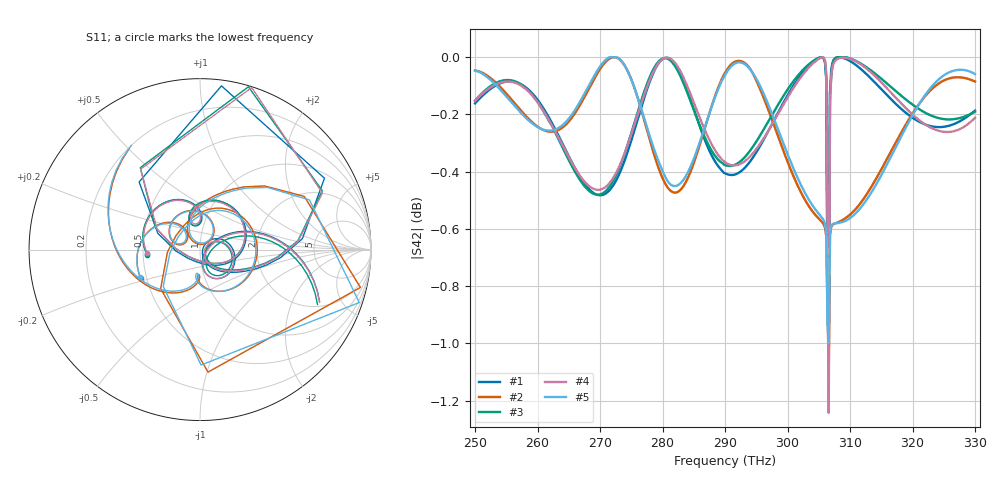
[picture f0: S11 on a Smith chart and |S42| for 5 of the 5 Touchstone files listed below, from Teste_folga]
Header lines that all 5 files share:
! TOUCHSTONE file generated by CST MICROWAVE STUDIO
! Project name: biblioteca3.cst
! Header version: 2018
! Port assignment regex: !\s*Touchstone port\s*([0-9]+)\s*=\s*(CST MWS port|CST DS port)\s*([0-9]+|Zmin|Zmax)\s*\(\"(.*)\"\)(\s*mode\s*([0-9]+))?.*
! Touchstone port assignment:
! Touchstone port 1 = CST MWS port Zmin ("") mode 1
! Touchstone port 2 = CST MWS port Zmin ("") mode 2
! Touchstone port 3 = CST MWS port Zmax ("") mode 1
! Touchstone port 4 = CST MWS port Zmax ("") mode 2
! S-Parameters are not renormalized. Unphysical impedance of 50 will be written to the file.
# GHz S RI R 50
Fixed: k = 0, n = 0, wavelength_nm = 0, H = 600, Lx = 200, Ly = 260, P = 520
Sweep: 250 THz to 330 THz
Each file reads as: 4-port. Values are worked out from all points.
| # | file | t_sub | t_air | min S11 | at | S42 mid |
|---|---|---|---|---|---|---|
| 1 | MWS-sweep-01-0001.s4p | 1000 | 800 | -36.1 dB | 299.2 THz | -0.4 dB at 290 THz |
| 2 | MWS-sweep-01-0002.s4p | 1500 | 800 | -30.2 dB | 279.8 THz | -0.1 dB at 290 THz |
| 3 | MWS-sweep-01-0004.s4p | 1000 | 1000 | -29.5 dB | 299.2 THz | -0.4 dB at 290 THz |
| 4 | MWS-sweep-01-0007.s4p | 1000 | 1200 | -31.3 dB | 299.8 THz | -0.4 dB at 290 THz |
| 5 | MWS-sweep-01-0008.s4p | 1500 | 1200 | -28.3 dB | 279.8 THz | -0.1 dB at 290 THz |
